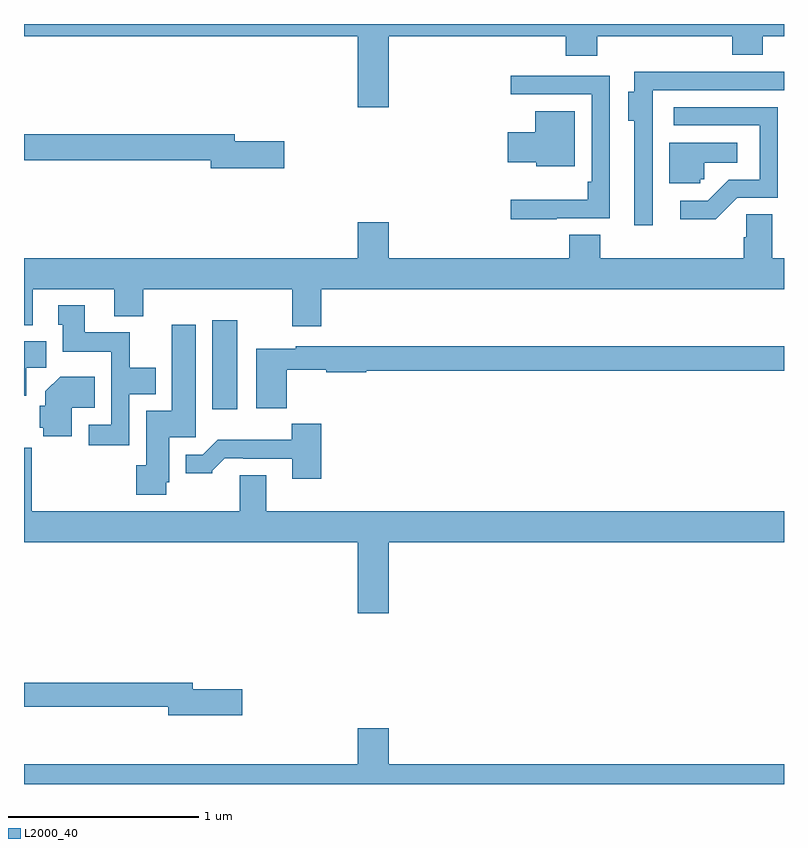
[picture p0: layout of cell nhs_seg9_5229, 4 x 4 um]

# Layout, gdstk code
import gdstk
lib = gdstk.Library(unit=1e-6, precision=1e-09)
def R(c, l, rs):  # rectangles x0, y0, x1, y1
    for r in rs: c.add(gdstk.rectangle(r[:2], r[2:], *l))
def P(c, l, *ps):  # polygons
    for p in ps: c.add(gdstk.Polygon(p, *l))
L2000_40 = (2000, 40)

nhs_seg9_5229 = lib.new_cell('nhs_seg9_5229')
R(nhs_seg9_5229, L2000_40, [(415.991,1178.472,416.122,1178.941)])
P(nhs_seg9_5229, L2000_40, [(416.92,1180.436),(417.851,1180.436),(417.851,1180.334),(418.016,1180.334),(418.016,1180.436),(418.727,1180.436),(418.727,1180.337),(418.887,1180.337),(418.887,1180.436),(419,1180.436),(419,1180.5),(415,1180.5),(415,1180.436),(416.756,1180.436),(416.756,1180.062),(416.92,1180.062)],
  [(418.308,1180.152),(419,1180.152),(419,1180.25),(418.958,1180.25),(418.958,1180.248),(418.643,1180.248),(418.643,1180.25),(418.212,1180.25),(418.212,1180.144),(418.181,1180.144),(418.181,1179.992),(418.212,1179.992),(418.212,1179.441),(418.308,1179.441)],
  [(417.805,1179.477),(418.083,1179.477),(418.083,1180.227),(417.561,1180.227),(417.561,1180.131),(417.987,1180.131),(417.987,1179.67),(417.967,1179.67),(417.967,1179.574),(417.561,1179.574),(417.561,1179.473),(417.805,1179.473)],
  [(418.755,1179.585),(418.968,1179.585),(418.968,1180.062),(418.419,1180.062),(418.419,1179.966),(418.872,1179.966),(418.872,1179.681),(418.71,1179.681),(418.599,1179.57),(418.455,1179.57),(418.455,1179.473),(418.642,1179.473)],
  [(417.898,1180.042),(417.692,1180.042),(417.692,1179.931),(417.546,1179.931),(417.546,1179.773),(417.696,1179.773),(417.696,1179.752),(417.898,1179.752)],
  [(416.371,1179.884),(416.11,1179.884),(416.11,1179.92),(415,1179.92),(415,1179.784),(415.982,1179.784),(415.982,1179.742),(416.371,1179.742)],
  [(418.56,1179.684),(418.581,1179.684),(418.581,1179.77),(418.753,1179.77),(418.753,1179.874),(418.397,1179.874),(418.397,1179.663),(418.56,1179.663)],
  [(416.564,1179.104),(419,1179.104),(419,1179.268),(418.939,1179.268),(418.939,1179.5),(418.8,1179.5),(418.8,1179.377),(418.787,1179.377),(418.787,1179.268),(418.034,1179.268),(418.034,1179.392),(417.869,1179.392),(417.869,1179.268),(416.92,1179.268),(416.92,1179.457),(416.756,1179.457),(416.756,1179.268),(415,1179.268),(415,1178.915),(415.045,1178.915),(415.045,1179.104),(415.475,1179.104),(415.475,1178.963),(415.628,1178.963),(415.628,1179.104),(416.411,1179.104),(416.411,1178.91),(416.564,1178.91)],
  [(415.554,1178.552),(415.693,1178.552),(415.693,1178.692),(415.557,1178.692),(415.557,1178.878),(415.321,1178.878),(415.321,1179.019),(415.181,1179.019),(415.181,1178.916),(415.205,1178.916),(415.205,1178.774),(415.458,1178.774),(415.458,1178.391),(415.341,1178.391),(415.341,1178.283),(415.554,1178.283)],
  [(415.749,1178.088),(415.765,1178.088),(415.765,1178.325),(415.903,1178.325),(415.903,1178.917),(415.778,1178.917),(415.778,1178.464),(415.643,1178.464),(415.643,1178.178),(415.592,1178.178),(415.592,1178.022),(415.749,1178.022)],
  [(415.012,1178.692),(415.117,1178.692),(415.117,1178.83),(415,1178.83),(415,1178.544),(415.012,1178.544)],
  [(416.384,1178.681),(416.592,1178.681),(416.592,1178.666),(416.802,1178.666),(416.802,1178.674),(419,1178.674),(419,1178.803),(416.43,1178.803),(416.43,1178.791),(416.222,1178.791),(416.222,1178.477),(416.384,1178.477)],
  [(415.252,1178.48),(415.373,1178.48),(415.373,1178.644),(415.19,1178.644),(415.112,1178.566),(415.112,1178.49),(415.082,1178.49),(415.082,1178.376),(415.1,1178.376),(415.1,1178.33),(415.252,1178.33)],
  [(416.564,1178.395),(416.409,1178.395),(416.409,1178.311),(416.02,1178.311),(415.941,1178.232),(415.85,1178.232),(415.85,1178.135),(415.992,1178.135),(415.992,1178.15),(416.056,1178.214),(416.155,1178.214),(416.155,1178.211),(416.411,1178.211),(416.411,1178.106),(416.564,1178.106)],
  [(416.92,1177.772),(419,1177.772),(419,1177.936),(416.275,1177.936),(416.275,1178.126),(416.135,1178.126),(416.135,1177.936),(415.04,1177.936),(415.04,1178.269),(415,1178.269),(415,1177.772),(416.756,1177.772),(416.756,1177.398),(416.92,1177.398)],
  [(416.149,1176.998),(415.888,1176.998),(415.888,1177.034),(415,1177.034),(415,1176.906),(415.76,1176.906),(415.76,1176.863),(416.149,1176.863)],
  [(419,1176.604),(416.92,1176.604),(416.92,1176.793),(416.756,1176.793),(416.756,1176.604),(415,1176.604),(415,1176.5),(419,1176.5)])

lib.write_gds('nhs_seg9_5229.gds')
